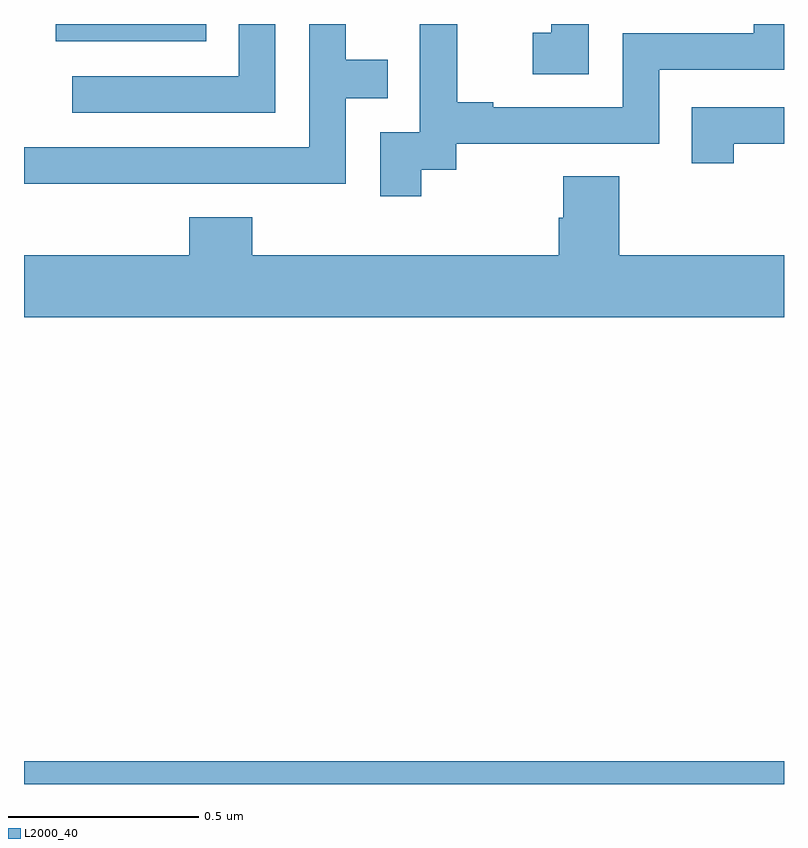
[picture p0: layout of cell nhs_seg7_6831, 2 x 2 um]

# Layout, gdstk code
import gdstk
lib = gdstk.Library(unit=1e-6, precision=1e-09)
def R(c, l, rs):  # rectangles x0, y0, x1, y1
    for r in rs: c.add(gdstk.rectangle(r[:2], r[2:], *l))
def P(c, l, *ps):  # polygons
    for p in ps: c.add(gdstk.Polygon(p, *l))
L2000_40 = (2000, 40)

nhs_seg7_6831 = lib.new_cell('nhs_seg7_6831')
R(nhs_seg7_6831, L2000_40, [(203,1054,205,1054.06), (203.084,1055.954,203.48,1056)])
P(nhs_seg7_6831, L2000_40, [(204.486,1056),(204.388,1056),(204.388,1055.977),(204.339,1055.977),(204.339,1055.868),(204.486,1055.868)],
  [(204.046,1055.617),(204.138,1055.617),(204.138,1055.685),(204.672,1055.685),(204.672,1055.88),(205,1055.88),(205,1056),(204.921,1056),(204.921,1055.976),(204.576,1055.976),(204.576,1055.781),(204.235,1055.781),(204.235,1055.794),(204.14,1055.794),(204.14,1056),(204.041,1056),(204.041,1055.945),(204.042,1055.945),(204.042,1055.715),(203.937,1055.715),(203.937,1055.547),(204.046,1055.547)],
  [(203.351,1055.58),(203.847,1055.58),(203.847,1055.805),(203.957,1055.805),(203.957,1055.906),(203.847,1055.906),(203.847,1056),(203.751,1056),(203.751,1055.676),(203,1055.676),(203,1055.579),(203.351,1055.579)],
  [(203.661,1056),(203.565,1056),(203.565,1055.862),(203.127,1055.862),(203.127,1055.766),(203.661,1055.766)],
  [(204.868,1055.685),(205,1055.685),(205,1055.781),(204.757,1055.781),(204.757,1055.634),(204.868,1055.634)],
  [(205,1055.392),(204.567,1055.392),(204.567,1055.6),(204.419,1055.6),(204.419,1055.49),(204.407,1055.49),(204.407,1055.392),(203.6,1055.392),(203.6,1055.491),(203.435,1055.491),(203.435,1055.392),(203,1055.392),(203,1055.228),(205,1055.228)])

lib.write_gds('nhs_seg7_6831.gds')
